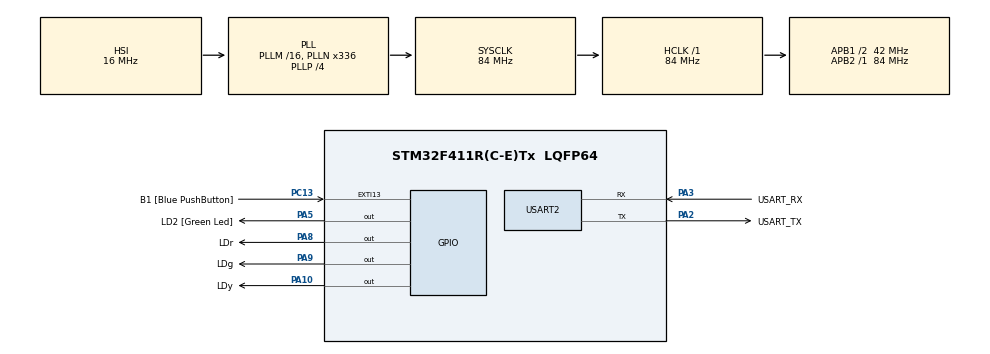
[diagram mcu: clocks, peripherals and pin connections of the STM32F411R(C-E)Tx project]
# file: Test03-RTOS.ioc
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FREERTOS.BinarySemaphores01=myBinarySem01,Dynamic,NULL
FREERTOS.Tasks01=myTask01,-1,128,StartTask01,Default,NULL,Dynamic,NULL,NULL;myTask02,-2,128,StartTask02,Default,NULL,Dynamic,NULL,NULL;myTask03,-3,128,StartTask03,Default,NULL,Dynamic,NULL,NULL
FREERTOS.configUSE_NEWLIB_REENTRANT=1
Mcu.Family=STM32F4
Mcu.Name=STM32F411R(C-E)Tx
Mcu.Package=LQFP64
NVIC.EXTI15_10_IRQn=true\:5\:0\:false\:false\:true\:true\:true\:true\:true
NVIC.PriorityGroup=NVIC_PRIORITYGROUP_4
NVIC.TIM1_TRG_COM_TIM11_IRQn=true\:15\:0\:false\:false\:true\:false\:false\:true\:true
NVIC.TimeBase=TIM1_TRG_COM_TIM11_IRQn
NVIC.TimeBaseIP=TIM11
PA10.GPIO_Label=LDy
PA10.Signal=GPIO_Output
PA13.GPIO_Label=TMS
PA13.Mode=Serial_Wire
PA13.Signal=SYS_JTMS-SWDIO
PA14.GPIO_Label=TCK
PA14.Mode=Serial_Wire
PA14.Signal=SYS_JTCK-SWCLK
PA2.GPIO_Label=USART_TX
PA2.Mode=Asynchronous
PA2.Signal=USART2_TX
PA3.GPIO_Label=USART_RX
PA3.Mode=Asynchronous
PA3.Signal=USART2_RX
PA5.GPIO_Label=LD2 [Green Led]
PA5.Signal=GPIO_Output
PA8.GPIO_Label=LDr
PA8.Signal=GPIO_Output
PA9.GPIO_Label=LDg
PA9.Signal=GPIO_Output
PB3.GPIO_Label=SWO
PB3.Signal=SYS_JTDO-SWO
PC13-ANTI_TAMP.GPIO_Label=B1 [Blue PushButton]
PC13-ANTI_TAMP.GPIO_ModeDefaultEXTI=GPIO_MODE_IT_FALLING
PC13-ANTI_TAMP.Signal=GPXTI13
PC14-OSC32_IN.Mode=LSE-External-Oscillator
PC14-OSC32_IN.Signal=RCC_OSC32_IN
PC15-OSC32_OUT.Mode=LSE-External-Oscillator
PC15-OSC32_OUT.Signal=RCC_OSC32_OUT
PH0\ -\ OSC_IN.Mode=HSE-External-Clock-Source
PH0\ -\ OSC_IN.Signal=RCC_OSC_IN
PH1\ -\ OSC_OUT.Mode=HSE-External-Clock-Source
PH1\ -\ OSC_OUT.Signal=RCC_OSC_OUT
ProjectManager.HeapSize=0x200
ProjectManager.StackSize=0x400
ProjectManager.TargetToolchain=STM32CubeIDE
RCC.48MHZClocksFreq_Value=84000000
RCC.AHBFreq_Value=84000000
RCC.APB1CLKDivider=RCC_HCLK_DIV2
RCC.APB1Freq_Value=42000000
RCC.APB1TimFreq_Value=84000000
RCC.APB2Freq_Value=84000000
RCC.APB2TimFreq_Value=84000000
RCC.CortexFreq_Value=84000000
RCC.FLatency-AdvancedSettings=FLASH_LATENCY_2
RCC.HCLKFreq_Value=84000000
RCC.HSE_VALUE=8000000
RCC.HSI_VALUE=16000000
RCC.PLLN=336
RCC.PLLP=RCC_PLLP_DIV4
RCC.SYSCLKFreq_VALUE=84000000
RCC.SYSCLKSource=RCC_SYSCLKSOURCE_PLLCLK
RCC.VCOOutputFreq_Value=336000000
USART2.VirtualMode=VM_ASYNC
VP_FREERTOS_VS_CMSIS_V1.Mode=CMSIS_V1
VP_SYS_VS_tim11.Mode=TIM11
board=NUCLEO-F411RE

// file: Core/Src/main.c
/* USER CODE BEGIN Header */
/**
  ******************************************************************************
  * @file           : main.c
  * @brief          : Main program body
  ******************************************************************************
  * @attention
  *
  * Copyright (c) 2023 STMicroelectronics.
  * All rights reserved.
  *
  * This software is licensed under terms that can be found in the LICENSE file
  * in the root directory of this software component.
  * If no LICENSE file comes with this software, it is provided AS-IS.
  *
  ******************************************************************************
  */
/* USER CODE END Header */
#include "main.h"
#include "cmsis_os.h"

UART_HandleTypeDef huart2;

osThreadId myTask01Handle;
osThreadId myTask02Handle;
osThreadId myTask03Handle;
osSemaphoreId myBinarySem01Handle;
/* USER CODE BEGIN PV */
#include "../../../myLib/myLib.c"
/* USER CODE END PV */

void SystemClock_Config(void);
static void MX_GPIO_Init(void);
static void MX_USART2_UART_Init(void);
void StartTask01(void const * argument);
void StartTask02(void const * argument);
void StartTask03(void const * argument);

/* USER CODE BEGIN 0 */
void HAL_GPIO_EXTI_Callback(uint16_t GPIO_Pin)
{
  osSemaphoreRelease(myBinarySem01Handle);
}
/* USER CODE END 0 */

int main(void)
{

  /* MCU Configuration--------------------------------------------------------*/

  /* Reset of all peripherals, Initializes the Flash interface and the Systick. */
  HAL_Init();

  /* Configure the system clock */
  SystemClock_Config();

  /* Initialize all configured peripherals */
  MX_GPIO_Init();
  MX_USART2_UART_Init();
  /* USER CODE BEGIN 2 */

 printf("\033[1J\033[1;1HRTOS Test Program Started...\r\n"); //\033[1J :erase , \033[1;1 :커서
 printf("Press B1 button to release Semaphore...\r\n");
  /* USER CODE END 2 */

  /* Create the semaphores(s) */
  /* definition and creation of myBinarySem01 */
  osSemaphoreDef(myBinarySem01);
  myBinarySem01Handle = osSemaphoreCreate(osSemaphore(myBinarySem01), 1);

  /* Create the thread(s) */
  /* definition and creation of myTask01 */
  osThreadDef(myTask01, StartTask01, osPriorityBelowNormal, 0, 128);
  myTask01Handle = osThreadCreate(osThread(myTask01), NULL);

  /* definition and creation of myTask02 */
  osThreadDef(myTask02, StartTask02, osPriorityLow, 0, 128);
  myTask02Handle = osThreadCreate(osThread(myTask02), NULL);

  /* definition and creation of myTask03 */
  osThreadDef(myTask03, StartTask03, osPriorityIdle, 0, 128);
  myTask03Handle = osThreadCreate(osThread(myTask03), NULL);

  /* USER CODE BEGIN RTOS_THREADS */
  while(osSemaphoreWait(myBinarySem01Handle,0)==osOK);
  /* add threads, ... */
  /* USER CODE END RTOS_THREADS */

  /* Start scheduler */
  osKernelStart();
  /* We should never get here as control is now taken by the scheduler */
  /* Infinite loop */
  /* USER CODE BEGIN WHILE */
  int n =0;
  while (1)
  {
    /* USER CODE END WHILE */

    /* USER CODE BEGIN 3 */
    printf("in Main procedure......%d\r\n", n++);
    HAL_GPIO_TogglePin(LDr_GPIO_Port,LDr_Pin);
    HAL_GPIO_TogglePin(LDg_GPIO_Port,LDg_Pin);
    HAL_GPIO_TogglePin(LDy_GPIO_Port,LDy_Pin);
    HAL_Delay(1000);
  }
  /* USER CODE END 3 */
}

void SystemClock_Config(void)
{
  RCC_OscInitTypeDef RCC_OscInitStruct = {0};
  RCC_ClkInitTypeDef RCC_ClkInitStruct = {0};

  /** Configure the main internal regulator output voltage
  */
  __HAL_RCC_PWR_CLK_ENABLE();
  __HAL_PWR_VOLTAGESCALING_CONFIG(PWR_REGULATOR_VOLTAGE_SCALE1);

  /** Initializes the RCC Oscillators according to the specified parameters
  * in the RCC_OscInitTypeDef structure.
  */
  RCC_OscInitStruct.OscillatorType = RCC_OSCILLATORTYPE_HSI;
  RCC_OscInitStruct.HSIState = RCC_HSI_ON;
  RCC_OscInitStruct.HSICalibrationValue = RCC_HSICALIBRATION_DEFAULT;
  RCC_OscInitStruct.PLL.PLLState = RCC_PLL_ON;
  RCC_OscInitStruct.PLL.PLLSource = RCC_PLLSOURCE_HSI;
  RCC_OscInitStruct.PLL.PLLM = 16;
  RCC_OscInitStruct.PLL.PLLN = 336;
  RCC_OscInitStruct.PLL.PLLP = RCC_PLLP_DIV4;
  RCC_OscInitStruct.PLL.PLLQ = 4;
  if (HAL_RCC_OscConfig(&RCC_OscInitStruct) != HAL_OK)
  {
    Error_Handler();
  }

  /** Initializes the CPU, AHB and APB buses clocks
  */
  RCC_ClkInitStruct.ClockType = RCC_CLOCKTYPE_HCLK|RCC_CLOCKTYPE_SYSCLK
                              |RCC_CLOCKTYPE_PCLK1|RCC_CLOCKTYPE_PCLK2;
  RCC_ClkInitStruct.SYSCLKSource = RCC_SYSCLKSOURCE_PLLCLK;
  RCC_ClkInitStruct.AHBCLKDivider = RCC_SYSCLK_DIV1;
  RCC_ClkInitStruct.APB1CLKDivider = RCC_HCLK_DIV2;
  RCC_ClkInitStruct.APB2CLKDivider = RCC_HCLK_DIV1;

  if (HAL_RCC_ClockConfig(&RCC_ClkInitStruct, FLASH_LATENCY_2) != HAL_OK)
  {
    Error_Handler();
  }
}

static void MX_USART2_UART_Init(void)
{

  huart2.Instance = USART2;
  huart2.Init.BaudRate = 115200;
  huart2.Init.WordLength = UART_WORDLENGTH_8B;
  huart2.Init.StopBits = UART_STOPBITS_1;
  huart2.Init.Parity = UART_PARITY_NONE;
  huart2.Init.Mode = UART_MODE_TX_RX;
  huart2.Init.HwFlowCtl = UART_HWCONTROL_NONE;
  huart2.Init.OverSampling = UART_OVERSAMPLING_16;
  if (HAL_UART_Init(&huart2) != HAL_OK)
  {
    Error_Handler();
  }

}

static void MX_GPIO_Init(void)
{
  GPIO_InitTypeDef GPIO_InitStruct = {0};

  /* GPIO Ports Clock Enable */
  __HAL_RCC_GPIOC_CLK_ENABLE();
  __HAL_RCC_GPIOH_CLK_ENABLE();
  __HAL_RCC_GPIOA_CLK_ENABLE();
  __HAL_RCC_GPIOB_CLK_ENABLE();

  /*Configure GPIO pin Output Level */
  HAL_GPIO_WritePin(GPIOA, LD2_Pin|LDr_Pin|LDg_Pin|LDy_Pin, GPIO_PIN_RESET);

  /*Configure GPIO pin : B1_Pin */
  GPIO_InitStruct.Pin = B1_Pin;
  GPIO_InitStruct.Mode = GPIO_MODE_IT_FALLING;
  GPIO_InitStruct.Pull = GPIO_NOPULL;
  HAL_GPIO_Init(B1_GPIO_Port, &GPIO_InitStruct);

  /*Configure GPIO pins : LD2_Pin LDr_Pin LDg_Pin LDy_Pin */
  GPIO_InitStruct.Pin = LD2_Pin|LDr_Pin|LDg_Pin|LDy_Pin;
  GPIO_InitStruct.Mode = GPIO_MODE_OUTPUT_PP;
  GPIO_InitStruct.Pull = GPIO_NOPULL;
  GPIO_InitStruct.Speed = GPIO_SPEED_FREQ_LOW;
  HAL_GPIO_Init(GPIOA, &GPIO_InitStruct);

  /* EXTI interrupt init*/
  HAL_NVIC_SetPriority(EXTI15_10_IRQn, 5, 0);
  HAL_NVIC_EnableIRQ(EXTI15_10_IRQn);

}

void StartTask01(void const * argument)
{
  /* USER CODE BEGIN 5 */
  /* Infinite loop */
  int n =0;
  for(;;)
  {
    if(osSemaphoreWait(myBinarySem01Handle, 0)==osOK)
    {
     printf("\033[3;1Hin default Task ....%d   \r\n",n++); //\033[1;3H 1 colum 3 line
      HAL_GPIO_WritePin(LDr_GPIO_Port,LDr_Pin,1); HAL_Delay(500);
     HAL_GPIO_WritePin(LDr_GPIO_Port,LDr_Pin,0); HAL_Delay(500);
      osSemaphoreRelease(myBinarySem01Handle);
      //printf("\033[3;1Hin default Task ....%d   \r\n",n++); //\033[1;3H 1 colum 3 line
    }
 osDelay(1);
  }
  /* USER CODE END 5 */
}

void StartTask02(void const * argument)
{
  /* USER CODE BEGIN StartTask02 */
  /* Infinite loop */
  int n =0;
  for(;;)
  {
    if(osSemaphoreWait(myBinarySem01Handle, 0)==osOK)
  {
   printf("\033[5;1Hin Task 02....%d   \r\n", n++);
  // HAL_GPIO_TogglePin(LDg_GPIO_Port,LDg_Pin);
    HAL_GPIO_WritePin(LDg_GPIO_Port,LDg_Pin,1); HAL_Delay(500);
     HAL_GPIO_WritePin(LDg_GPIO_Port,LDg_Pin,0); HAL_Delay(500);
    osSemaphoreRelease(myBinarySem01Handle);
   // printf("\033[5;1Hin Task 02....%d   \r\n", n++);
  }
    osDelay(10);
  }
  /* USER CODE END StartTask02 */
}

void StartTask03(void const * argument)
{
  /* USER CODE BEGIN StartTask03 */
  /* Infinite loop */
  int n =0;
  for(;;)
  {
    if(osSemaphoreWait(myBinarySem01Handle, 0)==osOK)
      {
    printf("\033[9;1Hin Task 03....%d   \r\n", n++);
   //HAL_GPIO_TogglePin(LDy_GPIO_Port,LDy_Pin);
  HAL_GPIO_WritePin(LDy_GPIO_Port,LDy_Pin,1); HAL_Delay(500);
     HAL_GPIO_WritePin(LDy_GPIO_Port,LDy_Pin,0); HAL_Delay(500);
    osSemaphoreRelease(myBinarySem01Handle);
    //printf("\033[9;1Hin Task 03....%d   \r\n", n++);
      }
    osDelay(10);
  }
  /* USER CODE END StartTask03 */
}

void HAL_TIM_PeriodElapsedCallback(TIM_HandleTypeDef *htim)
{
  if (htim->Instance == TIM11) {
    HAL_IncTick();
  }
}

void Error_Handler(void)
{
  __disable_irq();
  while (1)
  {
  }
}
